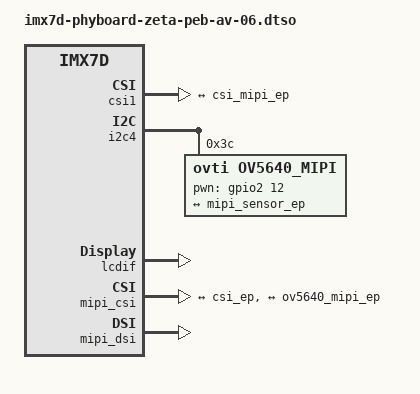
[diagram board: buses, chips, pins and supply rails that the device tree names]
// SPDX-License-Identifier: GPL-2.0-or-later
/* Copyright (C) 2018-2023 PHYTEC America, LLC */

/dts-v1/;
/plugin/;

#include <dt-bindings/gpio/gpio.h>
#include <dt-bindings/clock/imx7d-clock.h>
#include "../imx7d-pinfunc.h"

/ {
	compatible = "phytec,imx7-phyboard-zeta-kit",
		     "phytec,imx7-phycore-som",
		     "fsl,imx7d";
};

&csi1 {
	csi-mux-mipi = <&gpr 0x14 4>;
	fsl,mipi-mode;
	status = "okay";

	port {
		csi_ep: endpoint {
			remote-endpoint = <&csi_mipi_ep>;
		};
	};
};

&i2c4 {
	status = "okay";

	ov5640_mipi: ov5640_mipi@3c {
		pinctrl-names = "default";
		pinctrl-0 = <&pinctrl_mipigpio>;
		compatible = "ovti,ov5640_mipi";
		reg = <0x3c>;
		status = "okay";
		clocks = <&clks IMX7D_CLK_DUMMY>;
		clock-names = "csi_mclk";
		csi_id = <0>;
		pwn-gpios = <&gpio2 12 GPIO_ACTIVE_HIGH>;
		mclk = <24000000>;
		mclk_source = <0>;

		port {
			ov5640_mipi_ep: endpoint {
				remote-endpoint = <&mipi_sensor_ep>;
			};
		};
	};
};

&lcdif {
	display = <&display0>;
	disp-dev = "mipi_dsi_samsung";
	disp-videomode = "TRUULY-WVGA-SYNC-LOW";
	status = "okay";

	display0: display@0 {
		bits-per-pixel = <32>;
		bus-width = <24>;
	};
};

&mipi_csi {
	status = "okay";
	clock-frequency = <24000000>;
	clocks = <&clks IMX7D_MIPI_CSI_ROOT_CLK>,
				<&clks IMX7D_MIPI_DPHY_ROOT_CLK>,
				<&clks IMX7D_CLK_DUMMY>,
				<&clks IMX7D_CLK_DUMMY>;
	clock-names = "mipi_clk", "phy_clk", "disp_axi", "disp_apb";

	port {
		csi_mipi_ep: endpoint@1 {
			remote-endpoint = <&csi_ep>;
		};

		mipi_sensor_ep: endpoint@2 {
			remote-endpoint = <&ov5640_mipi_ep>;
			data-lanes = <2>;
			csis-hs-settle = <13>;
			csis-clk-settle = <2>;
			csis-wclk;
		};
	};
};

&mipi_dsi {
	lcd_panel = "TRULY-WVGA-TFT3P5581E";
	status = "okay";
};

&iomuxc {
	pinctrl_mipigpio: mipigpiogrp {
		fsl,pins = <
			MX7D_PAD_EPDC_DATA12__GPIO2_IO12	0x59
		>;
	};
};
